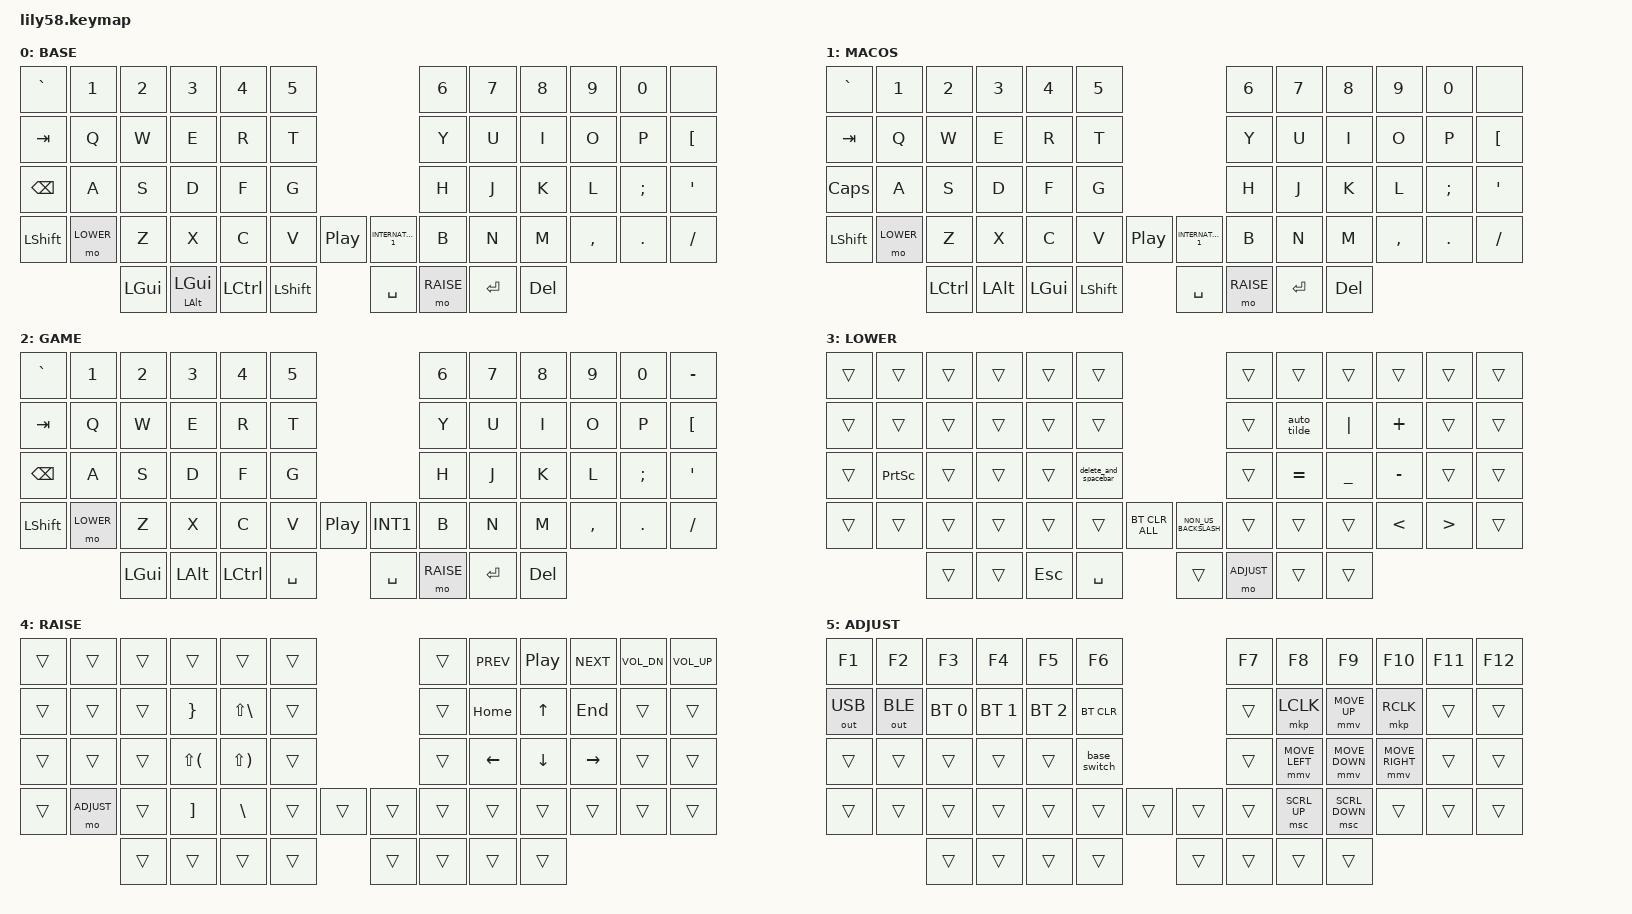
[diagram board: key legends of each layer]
#define ZMK_POINTING_DEFAULT_MOVE_VAL 1000
#define ZMK_POINTING_DEFAULT_SCRL_VAL 15

#include <behaviors.dtsi>
#include <dt-bindings/zmk/bt.h>
#include <dt-bindings/zmk/keys.h>
#include <dt-bindings/zmk/outputs.h>
#include <dt-bindings/zmk/pointing.h>

/* Layer indices follow declaration order in keymap */
#define BASE   0
#define MACOS  1
#define GAME   2
#define LOWER  3
#define RAISE  4
#define ADJUST 5

/ {
    behaviors {
        base_switch: base_switch {
            compatible = "zmk,behavior-tap-dance";
            #binding-cells = <0>;
            tapping-term-ms = <250>;
            bindings = <&to BASE>, <&to MACOS>, <&to GAME>;
        };
    };

    macros {
        auto_tilde: auto_tilde {
            compatible = "zmk,behavior-macro";
            #binding-cells = <0>;
            bindings = <&kp LS(LEFT_BRACKET) &kp SPACE>;
            label = "Types a tilde (win/linux)";
        };

        delete_and_spacebar: delete_and_spacebar {
            compatible = "zmk,behavior-macro";
            #binding-cells = <0>;
            bindings = <&kp DELETE &kp SPACE>;
            label = "Removes line breaks";
        };
    };

    keymap {
        compatible = "zmk,keymap";

        BASE {
            bindings = <
&kp GRAVE       &kp N1  &kp N2  &kp N3        &kp N4                 &kp N5                                                     &kp N6  &kp N7     &kp N8      &kp N9     &kp N0      &none
&kp TAB         &kp Q   &kp W   &kp E         &kp R                  &kp T                                                      &kp Y   &kp U      &kp I       &kp O      &kp P       &kp LEFT_BRACKET
&kp BACKSPACE   &kp A   &kp S   &kp D         &kp F                  &kp G                                                      &kp H   &kp J      &kp K       &kp L      &kp SEMI    &kp APOS
&kp LEFT_SHIFT  &mo LOWER   &kp Z   &kp X     &kp C                  &kp V             &kp C_PLAY_PAUSE    &kp INTERNATIONAL_1  &kp B   &kp N      &kp M       &kp COMMA  &kp PERIOD  &kp FSLH
                                &kp LEFT_GUI  &mt LEFT_ALT LEFT_GUI  &kp LEFT_CONTROL  &kp LEFT_SHIFT      &kp SPACE            &mo RAISE   &kp ENTER  &kp DELETE
            >;
        };

        MACOS {
            bindings = <
&kp GRAVE       &kp N1  &kp N2  &kp N3            &kp N4        &kp N5                                                 &kp N6  &kp N7     &kp N8      &kp N9     &kp N0      &none
&kp TAB         &kp Q   &kp W   &kp E             &kp R         &kp T                                                  &kp Y   &kp U      &kp I       &kp O      &kp P       &kp LEFT_BRACKET
&kp CAPSLOCK    &kp A   &kp S   &kp D             &kp F         &kp G                                                  &kp H   &kp J      &kp K       &kp L      &kp SEMI    &kp APOS
&kp LEFT_SHIFT  &mo LOWER   &kp Z   &kp X         &kp C         &kp V         &kp C_PLAY_PAUSE    &kp INTERNATIONAL_1  &kp B   &kp N      &kp M       &kp COMMA  &kp PERIOD  &kp FSLH
                                &kp LEFT_CONTROL  &kp LEFT_ALT  &kp LEFT_GUI  &kp LEFT_SHIFT      &kp SPACE            &mo RAISE   &kp ENTER  &kp DELETE
            >;
        };

        GAME {
            bindings = <
&kp GRAVE  &kp N1  &kp N2  &kp N3    &kp N4    &kp N5                             &kp N6  &kp N7   &kp N8   &kp N9     &kp N0    &kp MINUS
&kp TAB    &kp Q   &kp W   &kp E     &kp R     &kp T                              &kp Y   &kp U    &kp I    &kp O      &kp P     &kp LBKT
&kp BSPC   &kp A   &kp S   &kp D     &kp F     &kp G                              &kp H   &kp J    &kp K    &kp L      &kp SEMI  &kp APOS
&kp LSHFT  &mo LOWER   &kp Z   &kp X  &kp C     &kp V      &kp C_PP     &kp INT1   &kp B   &kp N    &kp M    &kp COMMA  &kp DOT   &kp FSLH
                           &kp LGUI  &kp LALT  &kp LCTRL  &kp SPACE    &kp SPACE  &mo RAISE   &kp RET  &kp DEL
            >;
        };

        LOWER {
            bindings = <
&trans  &trans           &trans  &trans  &trans  &trans                                                        &trans  &trans       &trans          &trans     &trans  &trans
&trans  &trans           &trans  &trans  &trans  &trans                                                        &trans  &auto_tilde  &kp PIPE        &kp PLUS   &trans  &trans
&trans  &kp PRINTSCREEN  &trans  &trans  &trans  &delete_and_spacebar                                          &trans  &kp EQUAL    &kp UNDERSCORE  &kp MINUS  &trans  &trans
&trans  &trans           &trans  &trans  &trans  &trans                &bt BT_CLR_ALL    &kp NON_US_BACKSLASH  &trans  &trans       &trans          &kp LT     &kp GT  &trans
                                 &trans  &trans  &kp ESC               &kp SPACE         &trans                &mo ADJUST   &trans       &trans
            >;
        };

        RAISE {
            bindings = <
&trans  &trans  &trans  &trans             &trans             &trans                    &trans  &kp C_PREV  &kp C_PP      &kp C_NEXT  &kp C_VOL_DN  &kp C_VOL_UP
&trans  &trans  &trans  &kp RIGHT_BRACE    &kp LS(BACKSLASH)  &trans                    &trans  &kp HOME    &kp UP_ARROW  &kp END     &trans        &trans
&trans  &trans  &trans  &kp LS(LPAR)       &kp LS(RPAR)       &trans                    &trans  &kp LEFT    &kp DOWN      &kp RIGHT   &trans        &trans
&trans  &mo ADJUST   &trans  &kp RIGHT_BRACKET  &kp BACKSLASH  &trans  &trans    &trans  &trans  &trans      &trans        &trans      &trans        &trans
                        &trans             &trans             &trans  &trans    &trans  &trans  &trans      &trans
            >;
        };

        ADJUST {
            bindings = <
&kp F1        &kp F2        &kp F3        &kp F4        &kp F5        &kp F6                        &kp F7  &kp F8          &kp F9          &kp F10          &kp F11  &kp F12
&out OUT_USB  &out OUT_BLE  &bt BT_SEL 0  &bt BT_SEL 1  &bt BT_SEL 2  &bt BT_CLR                    &trans  &mkp LCLK       &mmv MOVE_UP    &mkp RCLK        &trans   &trans
&trans        &trans        &trans        &trans        &trans        &base_switch                  &trans  &mmv MOVE_LEFT  &mmv MOVE_DOWN  &mmv MOVE_RIGHT  &trans   &trans
&trans        &trans        &trans        &trans        &trans        &trans      &trans    &trans  &trans  &msc SCRL_UP    &msc SCRL_DOWN  &trans           &trans   &trans
                                          &trans        &trans        &trans      &trans    &trans  &trans  &trans          &trans
            >;
        };
    };
};
